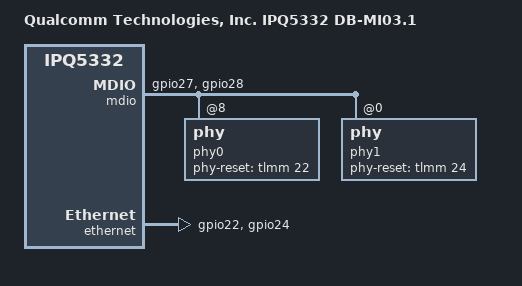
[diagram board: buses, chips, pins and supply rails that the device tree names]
// SPDX-License-Identifier: GPL-2.0-only
/*
 * Copyright (c) Qualcomm Technologies, Inc. and/or its subsidiaries.
 */

/dts-v1/;

#include "ipq5332-rdp-common.dtsi"

/ {
	model = "Qualcomm Technologies, Inc. IPQ5332 DB-MI03.1";
	compatible = "qcom,ipq5332-db-mi03.1", "qcom,ipq5332";

	soc@0 {
		mdio: mdio@90000 {
			pinctrl-names = "default";
			pinctrl-0 = <&mdio_pinmux>;
			status = "okay";

			phy0: phy@8 {
				phy-reset-gpio = <&tlmm 22 0>;
				phy_addr = <8>;
				phy_type = <AQ_PHY_TYPE>;
				phy-mode = "usxgmii";
				id = <1>;
				uniphy_id = <0>;
				uniphy_type = <0>;
				xgmac;
			};

			phy1: phy@0 {
				phy-reset-gpio = <&tlmm 24 0>;
				phy_addr = <0>;
				phy_type = <AQ_PHY_TYPE>;
				phy-mode = "usxgmii";
				id = <2>;
				uniphy_id = <1>;
				uniphy_type = <0>;
				xgmac;
			};
		};

		ethernet: nss-switch {
			pinctrl-names = "default";
			pinctrl-0 = <&phy_rst_pinmux>;
			phy-handle0 = <&phy0>;
			phy-handle1 = <&phy1>;
			status = "okay";
		};
	};
};

&tlmm {
	mdio_pinmux: mdio {
		mdc {
			pins = "gpio27";
			function = "mdc1";
			drive-strength = <8>;
			bias-disable;
		};

		mdio {
			pins = "gpio28";
			function = "mdio1";
			drive-strength = <8>;
			bias-pull-up;
		};
	};

	phy_rst_pinmux: phy_rst {
		qti_aquantia_p1_rst {
			pins = "gpio22";
			drive-strength = <8>;
			bias-pull-up;
		};

		qti_aquantia_p2_rst {
			pins = "gpio24";
			drive-strength = <8>;
			bias-pull-up;
		};
	};
};
